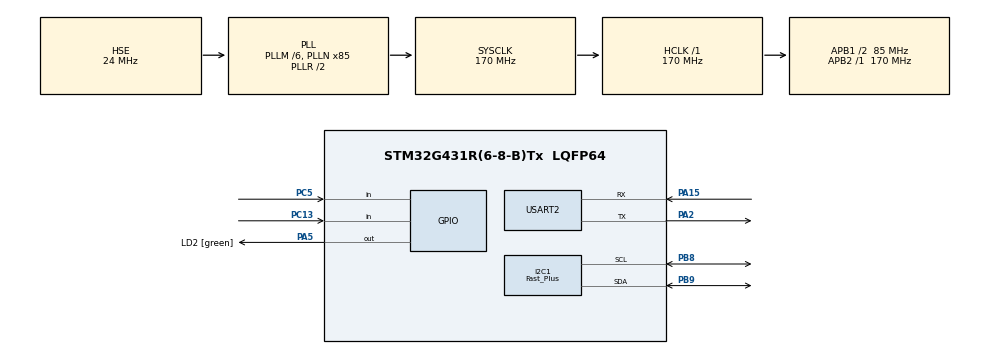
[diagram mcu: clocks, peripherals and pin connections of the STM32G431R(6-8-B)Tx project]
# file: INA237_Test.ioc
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I2C1.I2C_Speed_Mode=I2C_Fast_Plus
I2C1.Timing=0x00C20F27
Mcu.Family=STM32G4
Mcu.Name=STM32G431R(6-8-B)Tx
Mcu.Package=LQFP64
NVIC.PriorityGroup=NVIC_PRIORITYGROUP_4
PA13.GPIO_Label=T_SWDIO
PA13.Signal=SYS_JTMS-SWDIO
PA14.GPIO_Label=T_SWCLK
PA14.Signal=SYS_JTCK-SWCLK
PA15.Mode=Asynchronous
PA15.Signal=USART2_RX
PA2.Mode=Asynchronous
PA2.Signal=USART2_TX
PA3.GPIO_Label=LPUART1_RX [STLINKV3E_VCP_TX]
PA3.Signal=LPUART1_RX
PA5.GPIO_Label=LD2 [green]
PA5.Signal=GPIO_Output
PB8-BOOT0.GPIO_Pu=GPIO_NOPULL
PB8-BOOT0.Mode=I2C
PB8-BOOT0.Signal=I2C1_SCL
PB9.GPIO_Pu=GPIO_NOPULL
PB9.Mode=I2C
PB9.Signal=I2C1_SDA
PC13.Signal=GPIO_Input
PC14-OSC32_IN.GPIO_Label=RCC_OSC32_OUT
PC14-OSC32_IN.Signal=RCC_OSC32_IN
PC15-OSC32_OUT.GPIO_Label=RCC_OSC32_OUT
PC15-OSC32_OUT.Signal=RCC_OSC32_OUT
PC5.GPIO_PuPd=GPIO_PULLDOWN
PC5.Signal=GPIO_Input
PF0-OSC_IN.GPIO_Label=RCC_OSC_IN
PF0-OSC_IN.Mode=HSE-External-Oscillator
PF0-OSC_IN.Signal=RCC_OSC_IN
PF1-OSC_OUT.GPIO_Label=RCC_OSC_OUT
PF1-OSC_OUT.Mode=HSE-External-Oscillator
PF1-OSC_OUT.Signal=RCC_OSC_OUT
ProjectManager.HeapSize=0x200
ProjectManager.StackSize=0x400
ProjectManager.TargetToolchain=STM32CubeIDE
RCC.ADC12Freq_Value=170000000
RCC.AHBFreq_Value=170000000
RCC.APB1CLKDivider=RCC_HCLK_DIV2
RCC.APB1Freq_Value=85000000
RCC.APB1TimFreq_Value=170000000
RCC.APB2Freq_Value=170000000
RCC.APB2TimFreq_Value=170000000
RCC.CortexFreq_Value=170000000
RCC.EXTERNAL_CLOCK_VALUE=12288000
RCC.EnbaleCSS=true
RCC.HCLKFreq_Value=170000000
RCC.HSE_VALUE=24000000
RCC.HSI48_VALUE=48000000
RCC.HSI_VALUE=16000000
RCC.LSE_VALUE=32768
RCC.PLLM=RCC_PLLM_DIV6
RCC.PLLN=85
RCC.PLLSourceVirtual=RCC_PLLSOURCE_HSE
RCC.RTCClockSelection=RCC_RTCCLKSOURCE_LSE
RCC.SYSCLKFreq_VALUE=170000000
RCC.SYSCLKSource=RCC_SYSCLKSOURCE_PLLCLK
RCC.USBFreq_Value=170000000
RCC.VCOOutputFreq_Value=340000000
USART2.VirtualMode-Asynchronous=VM_ASYNC
VP_SYS_VS_DBSignals.Mode=DisableDeadBatterySignals
board=NUCLEO-G431RB

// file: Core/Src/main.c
/* USER CODE BEGIN Header */
/**
  ******************************************************************************
  * @file           : main.c
  * @brief          : Main program body
  ******************************************************************************
  * @attention
  *
  * Copyright (c) 2026 STMicroelectronics.
  * All rights reserved.
  *
  * This software is licensed under terms that can be found in the LICENSE file
  * in the root directory of this software component.
  * If no LICENSE file comes with this software, it is provided AS-IS.
  *
  ******************************************************************************
  */
/* USER CODE END Header */
#include "main.h"

/* USER CODE BEGIN Includes */
INA237_Handle_TypeDef_t FLT_DETECT;
#include <string.h>
#include <stdio.h>
/* USER CODE END Includes */

I2C_HandleTypeDef hi2c1;

UART_HandleTypeDef huart2;

void SystemClock_Config(void);
static void MX_GPIO_Init(void);
static void MX_I2C1_Init(void);
static void MX_USART2_UART_Init(void);

int main(void)
{

  /* MCU Configuration--------------------------------------------------------*/

  /* Reset of all peripherals, Initializes the Flash interface and the Systick. */
  HAL_Init();

  /* Configure the system clock */
  SystemClock_Config();

  /* Initialize all configured peripherals */
  MX_GPIO_Init();
  MX_I2C1_Init();
  MX_USART2_UART_Init();
  /* USER CODE BEGIN 2 */
  FLT_DETECT.hi2c = &hi2c1;
  FLT_DETECT.Init.dev_i2c_addr = (0x40<<1);
  FLT_DETECT.FAULT_Port = GPIOC;
  FLT_DETECT.FAULT_Pin = GPIO_PIN_5;

  FLT_DETECT.Init.op_mode = INA237_OP_MODE_SH_BUS_TEMP_TRG;
  FLT_DETECT.Init.adc_range = INA237_ADCRANGE_40_96_MV;
  FLT_DETECT.Init.avg = INA237_AVG_1024;
  FLT_DETECT.Init.conv_dly = 0x00U;
  FLT_DETECT.Init.vbusct = INA237_VBUSCT_1052US;
  FLT_DETECT.Init.vshct = INA237_VSHCT_1052US;
  FLT_DETECT.Init.vtct = INA237_VTCT_1052US;
  INA237_Init(&FLT_DETECT);
  FLT_DETECT.Init.max_cur_exp_A = 0.5;
  FLT_DETECT.Init.shunt_res_Ohm = 0.1;
  INA237_Set_Calib(&FLT_DETECT);
  INA237_Set_Diag_Alert_Config(&FLT_DETECT, _INA237_DIAG_ALRT_CNVR, ENABLE);
//  INA237_Set_Diag_Alert_Config(&FLT_DETECT, _INA237_DIAG_ALRT_SLOWALERT, ENABLE);
//  INA237_Set_Alert_Limit_Val(&FLT_DETECT, INA237_REG_TEMP_LIMIT, 0x190);
//  INA237_Set_Diag_Alert_Config(&FLT_DETECT, _INA237_DIAG_ALRT_ALATCH, ENABLE);
  char c[50];
  float ff;
  uint32_t len;
  uint8_t flag;
  /* USER CODE END 2 */

  /* Infinite loop */
  while (1)
  {

    /* USER CODE BEGIN 3 */
	  if(HAL_GPIO_ReadPin(GPIOC, GPIO_PIN_13))
	  {
		  HAL_Delay(150);
		  INA237_Get_Bus_Vltg_V(&FLT_DETECT,&ff);
		  len = sprintf(c,"Bus Voltage: %f\r",ff);
		  HAL_UART_Transmit(&huart2,(uint8_t*)c,len, HAL_MAX_DELAY);

		  INA237_Get_Shunt_Vltg_V(&FLT_DETECT, &ff);
		  len = sprintf(c,"Shunt Voltage: %f\r",ff);
		  HAL_UART_Transmit(&huart2,(uint8_t*)c,len, HAL_MAX_DELAY);

		  INA237_Get_Current_A(&FLT_DETECT, &ff);
		  len = sprintf(c,"Current: %f\r",ff);
		  HAL_UART_Transmit(&huart2,(uint8_t*)c,len, HAL_MAX_DELAY);

		  INA237_Get_Power_W(&FLT_DETECT, &ff);
		  len = sprintf(c,"Power: %f\r",ff);
		  HAL_UART_Transmit(&huart2,(uint8_t*)c,len, HAL_MAX_DELAY);

		  INA237_Get_Temp_C(&FLT_DETECT, &ff);
		  len = sprintf(c,"Temp: %f\r\n",ff);
		  HAL_UART_Transmit(&huart2,(uint8_t*)c,len, HAL_MAX_DELAY);
		  flag = INA237_Get_Diag_Alert_Flag(&FLT_DETECT, INA237_DIAG_ALRT_CNVRF);
		  if(flag & (1<<INA237_DIAG_ALRT_CNVRF))
		  {
			  len = sprintf(c,"True\r\n");
			  HAL_UART_Transmit(&huart2,(uint8_t*)c,len, HAL_MAX_DELAY);
		  }
		  else
		  {
			  len = sprintf(c,"False\r\n");
			  HAL_UART_Transmit(&huart2,(uint8_t*)c,len, HAL_MAX_DELAY);
		  }
		  INA237_Trigger_Conv(&FLT_DETECT);
	  }
  }
  /* USER CODE END 3 */
}

void SystemClock_Config(void)
{
  RCC_OscInitTypeDef RCC_OscInitStruct = {0};
  RCC_ClkInitTypeDef RCC_ClkInitStruct = {0};

  /** Configure the main internal regulator output voltage
  */
  HAL_PWREx_ControlVoltageScaling(PWR_REGULATOR_VOLTAGE_SCALE1_BOOST);

  /** Initializes the RCC Oscillators according to the specified parameters
  * in the RCC_OscInitTypeDef structure.
  */
  RCC_OscInitStruct.OscillatorType = RCC_OSCILLATORTYPE_HSE;
  RCC_OscInitStruct.HSEState = RCC_HSE_ON;
  RCC_OscInitStruct.PLL.PLLState = RCC_PLL_ON;
  RCC_OscInitStruct.PLL.PLLSource = RCC_PLLSOURCE_HSE;
  RCC_OscInitStruct.PLL.PLLM = RCC_PLLM_DIV6;
  RCC_OscInitStruct.PLL.PLLN = 85;
  RCC_OscInitStruct.PLL.PLLP = RCC_PLLP_DIV2;
  RCC_OscInitStruct.PLL.PLLQ = RCC_PLLQ_DIV2;
  RCC_OscInitStruct.PLL.PLLR = RCC_PLLR_DIV2;
  if (HAL_RCC_OscConfig(&RCC_OscInitStruct) != HAL_OK)
  {
    Error_Handler();
  }

  /** Initializes the CPU, AHB and APB buses clocks
  */
  RCC_ClkInitStruct.ClockType = RCC_CLOCKTYPE_HCLK|RCC_CLOCKTYPE_SYSCLK
                              |RCC_CLOCKTYPE_PCLK1|RCC_CLOCKTYPE_PCLK2;
  RCC_ClkInitStruct.SYSCLKSource = RCC_SYSCLKSOURCE_PLLCLK;
  RCC_ClkInitStruct.AHBCLKDivider = RCC_SYSCLK_DIV1;
  RCC_ClkInitStruct.APB1CLKDivider = RCC_HCLK_DIV2;
  RCC_ClkInitStruct.APB2CLKDivider = RCC_HCLK_DIV1;

  if (HAL_RCC_ClockConfig(&RCC_ClkInitStruct, FLASH_LATENCY_4) != HAL_OK)
  {
    Error_Handler();
  }

  /** Enables the Clock Security System
  */
  HAL_RCC_EnableCSS();
}

static void MX_I2C1_Init(void)
{

  hi2c1.Instance = I2C1;
  hi2c1.Init.Timing = 0x00C20F27;
  hi2c1.Init.OwnAddress1 = 0;
  hi2c1.Init.AddressingMode = I2C_ADDRESSINGMODE_7BIT;
  hi2c1.Init.DualAddressMode = I2C_DUALADDRESS_DISABLE;
  hi2c1.Init.OwnAddress2 = 0;
  hi2c1.Init.OwnAddress2Masks = I2C_OA2_NOMASK;
  hi2c1.Init.GeneralCallMode = I2C_GENERALCALL_DISABLE;
  hi2c1.Init.NoStretchMode = I2C_NOSTRETCH_DISABLE;
  if (HAL_I2C_Init(&hi2c1) != HAL_OK)
  {
    Error_Handler();
  }

  /** Configure Analogue filter
  */
  if (HAL_I2CEx_ConfigAnalogFilter(&hi2c1, I2C_ANALOGFILTER_ENABLE) != HAL_OK)
  {
    Error_Handler();
  }

  /** Configure Digital filter
  */
  if (HAL_I2CEx_ConfigDigitalFilter(&hi2c1, 0) != HAL_OK)
  {
    Error_Handler();
  }

  /** I2C Fast mode Plus enable
  */
  HAL_I2CEx_EnableFastModePlus(I2C_FASTMODEPLUS_I2C1);

}

static void MX_USART2_UART_Init(void)
{

  huart2.Instance = USART2;
  huart2.Init.BaudRate = 115200;
  huart2.Init.WordLength = UART_WORDLENGTH_8B;
  huart2.Init.StopBits = UART_STOPBITS_1;
  huart2.Init.Parity = UART_PARITY_NONE;
  huart2.Init.Mode = UART_MODE_TX_RX;
  huart2.Init.HwFlowCtl = UART_HWCONTROL_NONE;
  huart2.Init.OverSampling = UART_OVERSAMPLING_16;
  huart2.Init.OneBitSampling = UART_ONE_BIT_SAMPLE_DISABLE;
  huart2.Init.ClockPrescaler = UART_PRESCALER_DIV1;
  huart2.AdvancedInit.AdvFeatureInit = UART_ADVFEATURE_NO_INIT;
  if (HAL_UART_Init(&huart2) != HAL_OK)
  {
    Error_Handler();
  }
  if (HAL_UARTEx_SetTxFifoThreshold(&huart2, UART_TXFIFO_THRESHOLD_1_8) != HAL_OK)
  {
    Error_Handler();
  }
  if (HAL_UARTEx_SetRxFifoThreshold(&huart2, UART_RXFIFO_THRESHOLD_1_8) != HAL_OK)
  {
    Error_Handler();
  }
  if (HAL_UARTEx_DisableFifoMode(&huart2) != HAL_OK)
  {
    Error_Handler();
  }

}

static void MX_GPIO_Init(void)
{
  GPIO_InitTypeDef GPIO_InitStruct = {0};

  /* GPIO Ports Clock Enable */
  __HAL_RCC_GPIOC_CLK_ENABLE();
  __HAL_RCC_GPIOF_CLK_ENABLE();
  __HAL_RCC_GPIOA_CLK_ENABLE();
  __HAL_RCC_GPIOB_CLK_ENABLE();

  /*Configure GPIO pin Output Level */
  HAL_GPIO_WritePin(LD2_GPIO_Port, LD2_Pin, GPIO_PIN_RESET);

  /*Configure GPIO pin : PC13 */
  GPIO_InitStruct.Pin = GPIO_PIN_13;
  GPIO_InitStruct.Mode = GPIO_MODE_INPUT;
  GPIO_InitStruct.Pull = GPIO_NOPULL;
  HAL_GPIO_Init(GPIOC, &GPIO_InitStruct);

  /*Configure GPIO pin : LPUART1_RX_Pin */
  GPIO_InitStruct.Pin = LPUART1_RX_Pin;
  GPIO_InitStruct.Mode = GPIO_MODE_AF_PP;
  GPIO_InitStruct.Pull = GPIO_NOPULL;
  GPIO_InitStruct.Speed = GPIO_SPEED_FREQ_LOW;
  GPIO_InitStruct.Alternate = GPIO_AF12_LPUART1;
  HAL_GPIO_Init(LPUART1_RX_GPIO_Port, &GPIO_InitStruct);

  /*Configure GPIO pin : LD2_Pin */
  GPIO_InitStruct.Pin = LD2_Pin;
  GPIO_InitStruct.Mode = GPIO_MODE_OUTPUT_PP;
  GPIO_InitStruct.Pull = GPIO_NOPULL;
  GPIO_InitStruct.Speed = GPIO_SPEED_FREQ_LOW;
  HAL_GPIO_Init(LD2_GPIO_Port, &GPIO_InitStruct);

  /*Configure GPIO pin : PC5 */
  GPIO_InitStruct.Pin = GPIO_PIN_5;
  GPIO_InitStruct.Mode = GPIO_MODE_INPUT;
  GPIO_InitStruct.Pull = GPIO_PULLDOWN;
  HAL_GPIO_Init(GPIOC, &GPIO_InitStruct);

}

void Error_Handler(void)
{
  __disable_irq();
  while (1)
  {
  }
}
